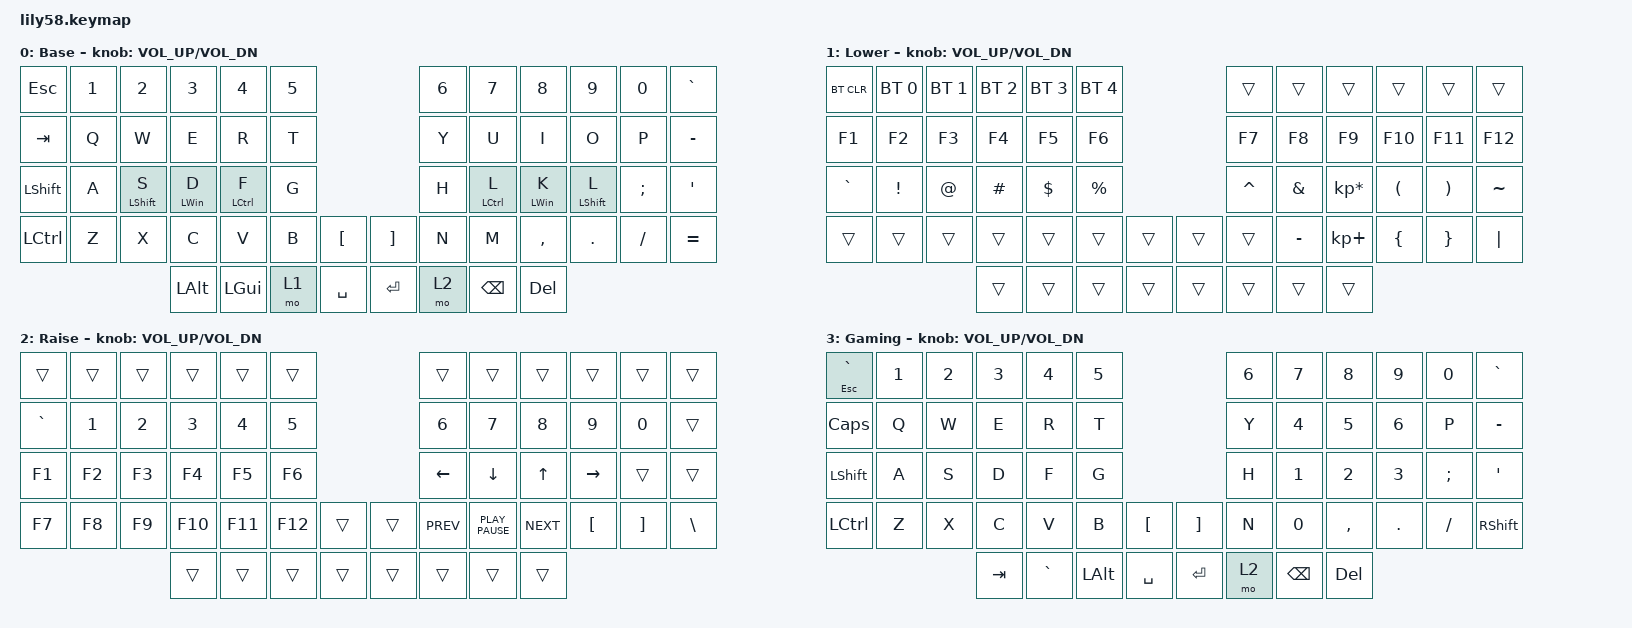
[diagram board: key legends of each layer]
/*
 * Copyright (c) 2020 The ZMK Contributors
 *
 * SPDX-License-Identifier: MIT
 */

#include <behaviors.dtsi>
#include <dt-bindings/zmk/bt.h>
#include <dt-bindings/zmk/keys.h>

/ {
    combos {
        compatible = "zmk,combos";

        to_gaming {
            bindings = <&to 3>;
            key-positions = <57 36>;
            layers = <0>;
        };

        to_default {
            bindings = <&to 0>;
            key-positions = <36 57>;
            layers = <3>;
        };
    };

    keymap {
        compatible = "zmk,keymap";

        default_layer {
            // ------------------------------------------------------------------------------------------------------------
            // |  ESC  |  1  |  2  |  3   |  4   |  5   |                   |  6   |  7    |  8    |  9   |   0   |   `   |
            // |  TAB  |  Q  |  W  |  E   |  R   |  T   |                   |  Y   |  U    |  I    |  O   |   P   |   -   |
            // |  CTRL |  A  |  S  |  D   |  F   |  G   |                   |  H   |  J    |  K    |  L   |   ;   |   '   |
            // | SHIFT |  Z  |  X  |  C   |  V   |  B   |   "["  |  |  "]"  |  N   |  M    |  ,    |  .   |   /   | SHIFT |
            //                     | ALT  | GUI  | LOWER|  SPACE |  | ENTER | RAISE| BSPC  | GUI   |

            display-name = "Base";
            bindings = <
&kp ESC     &kp N1  &kp N2            &kp N3          &kp N4       &kp N5                         &kp N6  &kp N7       &kp N8          &kp N9            &kp N0    &kp GRAVE
&kp TAB     &kp Q   &kp W             &kp E           &kp R        &kp T                          &kp Y   &kp U        &kp I           &kp O             &kp P     &kp MINUS
&kp LSHIFT  &kp A   &mt LEFT_SHIFT S  &mt LEFT_WIN D  &mt LCTRL F  &kp G                          &kp H   &mt LCTRL L  &mt LEFT_WIN K  &mt LEFT_SHIFT L  &kp SEMI  &kp SQT
&kp LCTRL   &kp Z   &kp X             &kp C           &kp V        &kp B   &kp LBKT     &kp RBKT  &kp N   &kp M        &kp COMMA       &kp DOT           &kp FSLH  &kp EQUAL
                                      &kp LALT        &kp LGUI     &mo 1   &kp SPACE    &kp RET   &mo 2   &kp BSPC     &kp DEL
            >;

            sensor-bindings = <&inc_dec_kp C_VOL_UP C_VOL_DN>;
        };

        lower_layer {
            // ------------------------------------------------------------------------------------------------------------
            // | BTCLR | BT1 | BT2 |  BT3 |  BT4 |  BT5 |                   |      |       |       |      |       |       |
            // |  F1   |  F2 |  F3 |  F4  |  F5  |  F6  |                   |  F7  |  F8   |  F9   |  F10 |  F11  |  F12  |
            // |   `   |  !  |  @  |  #   |  $   |  %   |                   |  ^   |  &    |  *    |  (   |   )   |   ~   |
            // |       |     |     |      |      |      |        |  |       |      |  _    |  +    |  {   |   }   |  "|"  |
            //                     |      |      |      |        |  |       |      |       |       |

            display-name = "Lower";
            bindings = <
&bt BT_CLR  &bt BT_SEL 0  &bt BT_SEL 1  &bt BT_SEL 2  &bt BT_SEL 3  &bt BT_SEL 4                    &trans     &trans     &trans           &trans    &trans    &trans
&kp F1      &kp F2        &kp F3        &kp F4        &kp F5        &kp F6                          &kp F7     &kp F8     &kp F9           &kp F10   &kp F11   &kp F12
&kp GRAVE   &kp EXCL      &kp AT        &kp HASH      &kp DOLLAR    &kp PRCNT                       &kp CARET  &kp AMPS   &kp KP_MULTIPLY  &kp LPAR  &kp RPAR  &kp TILDE
&trans      &trans        &trans        &trans        &trans        &trans        &trans    &trans  &trans     &kp MINUS  &kp KP_PLUS      &kp LBRC  &kp RBRC  &kp PIPE
                                        &trans        &trans        &trans        &trans    &trans  &trans     &trans     &trans
            >;

            sensor-bindings = <&inc_dec_kp C_VOL_UP C_VOL_DN>;
        };

        raise_layer {
            // ------------------------------------------------------------------------------------------------------------
            // |       |     |     |      |      |      |                   |      |       |       |      |       |       |
            // |   `   |  1  |  2  |  3   |  4   |  5   |                   |  6   |   7   |   8   |  9   |   0   |       |
            // |   F1  |  F2 |  F3 |  F4  |  F5  |  F6  |                   |      |   <-  |   v   |  ^   |  ->   |       |
            // |   F7  |  F8 |  F9 |  F10 |  F11 |  F12 |        |  |       |  +   |   -   |   =   |  [   |   ]   |   \   |
            //                     |      |      |      |        |  |       |      |       |       |

            display-name = "Raise";
            bindings = <
&trans     &trans  &trans  &trans   &trans   &trans                     &trans      &trans            &trans      &trans     &trans    &trans
&kp GRAVE  &kp N1  &kp N2  &kp N3   &kp N4   &kp N5                     &kp N6      &kp N7            &kp N8      &kp N9     &kp N0    &trans
&kp F1     &kp F2  &kp F3  &kp F4   &kp F5   &kp F6                     &kp LEFT    &kp DOWN          &kp UP      &kp RIGHT  &trans    &trans
&kp F7     &kp F8  &kp F9  &kp F10  &kp F11  &kp F12  &trans    &trans  &kp K_PREV  &kp K_PLAY_PAUSE  &kp K_NEXT  &kp LBKT   &kp RBKT  &kp BSLH
                           &trans   &trans   &trans   &trans    &trans  &trans      &trans            &trans
            >;

            sensor-bindings = <&inc_dec_kp C_VOL_UP C_VOL_DN>;
        };

        GAMING_LAYER {
            display-name = "Gaming";
            bindings = <
&mt ESCAPE GRAVE  &kp N1  &kp N2  &kp N3   &kp N4     &kp N5                               &kp N6  &kp N7        &kp N8        &kp N9        &kp N0    &kp GRAVE
&kp CAPSLOCK      &kp Q   &kp W   &kp E    &kp R      &kp T                                &kp Y   &kp NUMBER_4  &kp NUMBER_5  &kp NUMBER_6  &kp P     &kp MINUS
&kp LSHIFT        &kp A   &kp S   &kp D    &kp F      &kp G                                &kp H   &kp NUMBER_1  &kp NUMBER_2  &kp NUMBER_3  &kp SEMI  &kp SQT
&kp LCTRL         &kp Z   &kp X   &kp C    &kp V      &kp B         &kp LBKT     &kp RBKT  &kp N   &kp NUMBER_0  &kp COMMA     &kp DOT       &kp FSLH  &kp RSHFT
                                  &kp TAB  &kp GRAVE  &kp LEFT_ALT  &kp SPACE    &kp RET   &mo 2   &kp BSPC      &kp DEL
            >;

            sensor-bindings = <&inc_dec_kp C_VOL_UP C_VOL_DN>;
        };
    };
};
